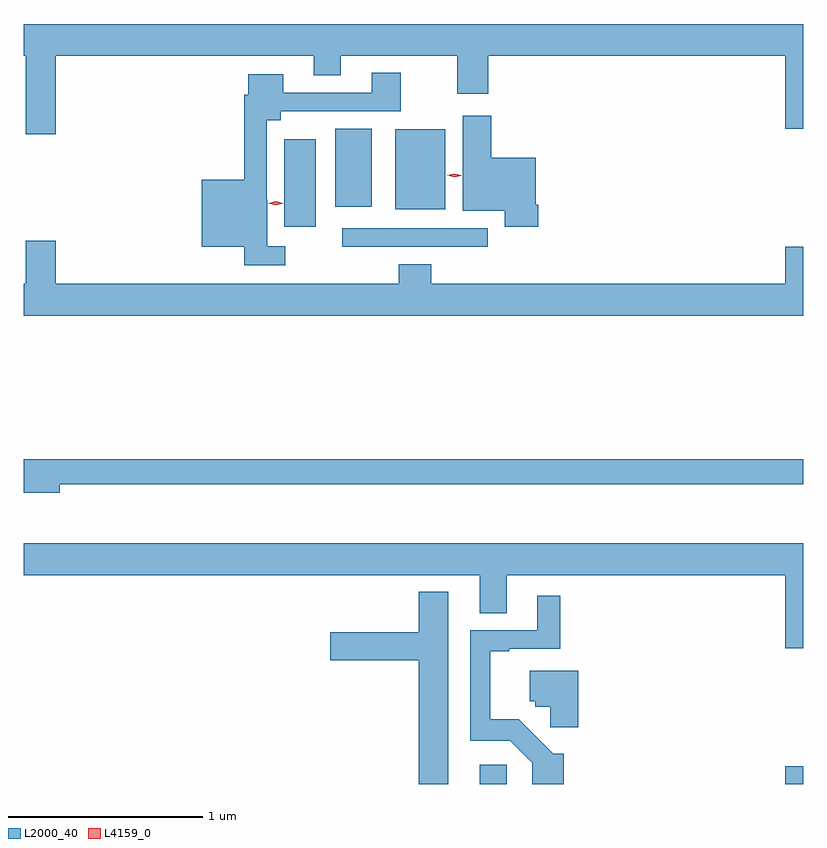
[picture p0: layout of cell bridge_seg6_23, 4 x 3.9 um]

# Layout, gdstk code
import gdstk
lib = gdstk.Library(unit=1e-6, precision=1e-09)
def R(c, l, rs):  # rectangles x0, y0, x1, y1
    for r in rs: c.add(gdstk.rectangle(r[:2], r[2:], *l))
def P(c, l, *ps):  # polygons
    for p in ps: c.add(gdstk.Polygon(p, *l))
L2000_40 = (2000, 40)
L4159_0 = (4159, 0)

bridge_seg6_23 = lib.new_cell('bridge_seg6_23')
R(bridge_seg6_23, L2000_40, [(966.635,990.221,966.774,990.319), (968.204,990.221,968.296,990.313), (965.931,992.976,966.676,993.072), (965.633,993.081,965.794,993.529), (966.203,993.17,966.46,993.58), (965.894,993.182,966.082,993.583)])
P(bridge_seg6_23, L2000_40, [(964.46,993.956),(965.783,993.956),(965.783,993.857),(965.923,993.857),(965.923,993.956),(966.52,993.956),(966.52,993.762),(966.68,993.762),(966.68,993.956),(968.204,993.956),(968.204,993.582),(968.296,993.582),(968.296,994.12),(964.296,994.12),(964.296,993.956),(964.307,993.956),(964.307,993.555),(964.46,993.555)],
  [(965.638,992.979),(965.545,992.979),(965.545,993.218),(965.544,993.218),(965.544,993.626),(965.614,993.626),(965.614,993.672),(966.231,993.672),(966.231,993.871),(966.083,993.871),(966.083,993.768),(965.629,993.768),(965.629,993.862),(965.447,993.862),(965.447,993.758),(965.428,993.758),(965.428,993.322),(965.21,993.322),(965.21,992.978),(965.428,992.978),(965.428,992.883),(965.638,992.883)],
  [(966.935,993.193),(966.922,993.193),(966.922,993.433),(966.695,993.433),(966.695,993.649),(966.548,993.649),(966.548,993.161),(966.764,993.161),(966.764,993.081),(966.935,993.081)],
  [(968.296,992.977),(968.204,992.977),(968.204,992.788),(966.386,992.788),(966.386,992.887),(966.221,992.887),(966.221,992.788),(964.46,992.788),(964.46,993.007),(964.307,993.007),(964.307,992.788),(964.296,992.788),(964.296,992.624),(968.296,992.624)],
  [(964.48,991.758),(968.296,991.758),(968.296,991.886),(964.296,991.886),(964.296,991.715),(964.48,991.715)],
  [(968.296,991.456),(964.296,991.456),(964.296,991.292),(966.635,991.292),(966.635,991.098),(966.775,991.098),(966.775,991.292),(968.204,991.292),(968.204,990.918),(968.296,990.918)],
  [(966.475,991.207),(966.323,991.207),(966.323,990.999),(965.868,990.999),(965.868,990.857),(966.323,990.857),(966.323,990.221),(966.475,990.221)],
  [(967.067,990.376),(967.013,990.376),(966.835,990.554),(966.691,990.554),(966.691,990.903),(966.787,990.903),(966.787,990.915),(967.049,990.915),(967.049,991.186),(966.932,991.186),(966.932,991.011),(966.587,991.011),(966.587,990.444),(966.792,990.444),(966.906,990.33),(966.906,990.221),(967.067,990.221)],
  [(967.142,990.802),(966.893,990.802),(966.893,990.645),(966.921,990.645),(966.921,990.618),(966.997,990.618),(966.997,990.513),(967.142,990.513)])
P(bridge_seg6_23, L4159_0, [(966.504,993.333),(966.468,993.344),(966.468,993.344),(966.468,993.344),(966.505,993.353),(966.541,993.343),(966.541,993.342),(966.541,993.342)],
  [(965.59,993.191),(965.551,993.201),(965.551,993.201),(965.551,993.201),(965.59,993.211),(965.629,993.201),(965.629,993.201),(965.629,993.201)])

lib.write_gds('bridge_seg6_23.gds')
